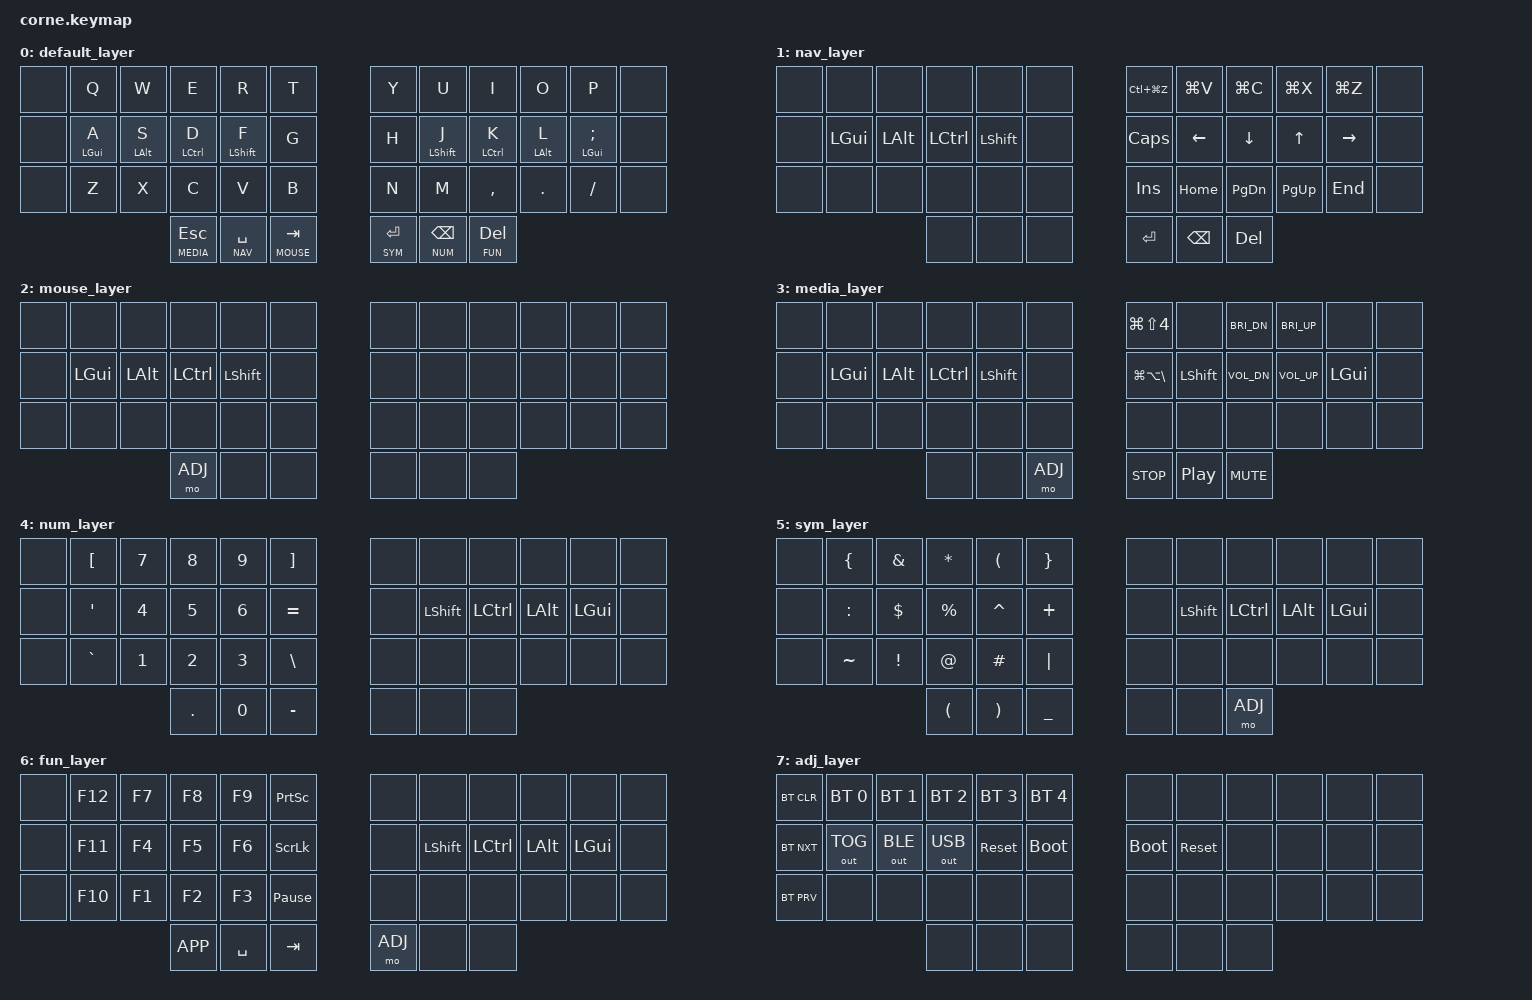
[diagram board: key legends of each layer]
/*
 * Copyright (c) 2020 The ZMK Contributors
 *
 * SPDX-License-Identifier: MIT
 */

#include <behaviors.dtsi>
#include <dt-bindings/zmk/keys.h>
#include <dt-bindings/zmk/bt.h>
#include <dt-bindings/zmk/outputs.h>


#define BASE 0
#define NAV 1
#define MOUSE 2
#define MEDIA 3
#define NUM 4
#define SYM 5
#define FUN 6
#define ADJ 7

/ {
        behaviors {
                hm: homerow_mods {
                        compatible = "zmk,behavior-hold-tap";
                        label = "HOMEROW_MODS";
                        #binding-cells = <2>;
                        tapping-term-ms = <220>;
                        quick_tap_ms = <0>;
                        flavor = "balanced";
                        bindings = <&kp>, <&kp>;
                };
        };

        combos {
                compatible = "zmk,combos";
                combo_prev {
                    timeout-ms = <50>;
                    key-positions = <8 20>;
                    layers = <NAV>;
                    bindings = <&kp LG(LS(LBRC))>;
                };

                combo_next {
                    timeout-ms = <50>;
                    key-positions = <9 21>;
                    layers = <NAV>;
                    bindings = <&kp LG(LS(RBRC))>;
                };
        };

        keymap {
                compatible = "zmk,keymap";

                default_layer {
                        bindings = <
   &none  &kp Q       &kp W       &kp E          &kp R          &kp T             &kp Y        &kp U         &kp I        &kp O       &kp P          &none
   &none  &hm LGUI A  &hm LALT S  &hm LCTRL D    &hm LSHFT F    &kp G             &kp H        &hm LSHFT J   &hm LCTRL K  &hm LALT L  &hm LGUI SEMI  &none
   &none  &kp Z       &kp X       &kp C          &kp V          &kp B             &kp N        &kp M         &kp COMMA    &kp DOT     &kp FSLH       &none
                                  &lt MEDIA ESC  &lt NAV SPACE  &lt MOUSE TAB     &lt SYM RET  &lt NUM BSPC  &lt FUN DEL
                        >;
                };

                nav_layer {
                        bindings = <
   &none  &none     &none         &none          &none          &none             &kp LC(LG(Z))  &kp LG(V)   &kp LG(C)    &kp LG(X)   &kp LG(Z)      &none
   &none  &kp LGUI  &kp LALT      &kp LCTRL      &kp LSHFT      &none             &kp CAPS       &kp LEFT    &kp DOWN     &kp UP      &kp RIGHT      &none
   &none  &none     &none         &none          &none          &none             &kp INS        &kp HOME    &kp PG_DN    &kp PG_UP   &kp END        &none
                                  &none          &none          &none             &kp RET        &kp BSPC    &kp DEL
                        >;
                };

                mouse_layer {
                        bindings = <
   &none  &none       &none       &none          &none          &none             &none        &none         &none        &none       &none          &none
   &none  &kp LGUI    &kp LALT    &kp LCTRL      &kp LSHFT      &none             &none        &none         &none        &none       &none          &none
   &none  &none       &none       &none          &none          &none             &none        &none         &none        &none       &none          &none
                                  &mo ADJ        &none          &none             &none        &none         &none
                        >;
                };

                media_layer {
                        bindings = <
   &none  &none       &none       &none          &none          &none             &kp LG(LS(N4))    &none         &kp C_BRI_DN  &kp C_BRI_UP  &none          &none
   &none  &kp LGUI    &kp LALT    &kp LCTRL      &kp LSHFT      &none             &kp LG(LA(BSLH))  &kp LSHFT     &kp C_VOL_DN  &kp C_VOL_UP  &kp LGUI       &none
   &none  &none       &none       &none          &none          &none             &none             &none         &none         &none         &none          &none
                                  &none          &none          &mo ADJ           &kp C_STOP        &kp C_PP      &kp K_MUTE
                        >;
                };

                num_layer {
                        bindings = <
   &none  &kp LBKT    &kp N7      &kp N8         &kp N9         &kp RBKT          &none        &none         &none        &none       &none          &none
   &none  &kp SQT     &kp N4      &kp N5         &kp N6         &kp EQUAL         &none        &kp LSHFT     &kp LCTRL    &kp LALT    &kp LGUI       &none
   &none  &kp GRAVE   &kp N1      &kp N2         &kp N3         &kp BSLH          &none        &none         &none        &none       &none          &none
                                  &kp DOT        &kp N0         &kp MINUS         &none        &none         &none
                        >;
                };

                sym_layer {
                        bindings = <
   &none  &kp LBRC    &kp AMPS    &kp STAR       &kp LPAR       &kp RBRC          &none        &none         &none        &none       &none          &none
   &none  &kp COLON   &kp DLLR    &kp PRCNT      &kp CARET      &kp PLUS          &none        &kp LSHFT     &kp LCTRL    &kp LALT    &kp LGUI       &none
   &none  &kp TILDE   &kp EXCL    &kp AT         &kp HASH       &kp PIPE          &none        &none         &none        &none       &none          &none
                                  &kp LPAR       &kp RPAR       &kp UNDER         &none        &none         &mo ADJ
                        >;
                };

                fun_layer {
                        bindings = <
   &none  &kp F12     &kp F7      &kp F8         &kp F9         &kp PSCRN         &none        &none         &none        &none       &none          &none
   &none  &kp F11     &kp F4      &kp F5         &kp F6         &kp SLCK          &none        &kp LSHFT     &kp LCTRL    &kp LALT    &kp LGUI       &none
   &none  &kp F10     &kp F1      &kp F2         &kp F3         &kp PAUSE_BREAK   &none        &none         &none        &none       &none          &none
                                  &kp K_APP      &kp SPACE      &kp TAB           &mo ADJ      &none         &none
                        >;
                };

                adj_layer {
                        bindings = <
   &bt BT_CLR  &bt BT_SEL 0  &bt BT_SEL 1  &bt BT_SEL 2  &bt BT_SEL 3 &bt BT_SEL 4  &none        &none   &none   &none   &none   &none
   &bt BT_NXT  &out OUT_TOG  &out OUT_BLE  &out OUT_USB  &sys_reset       &bootloader   &bootloader  &sys_reset  &none   &none   &none   &none
   &bt BT_PRV  &none         &none         &none         &none        &none         &none        &none   &none   &none   &none   &none
                                           &none         &none        &none         &none        &none   &none
                        >;
                };
        };
};
